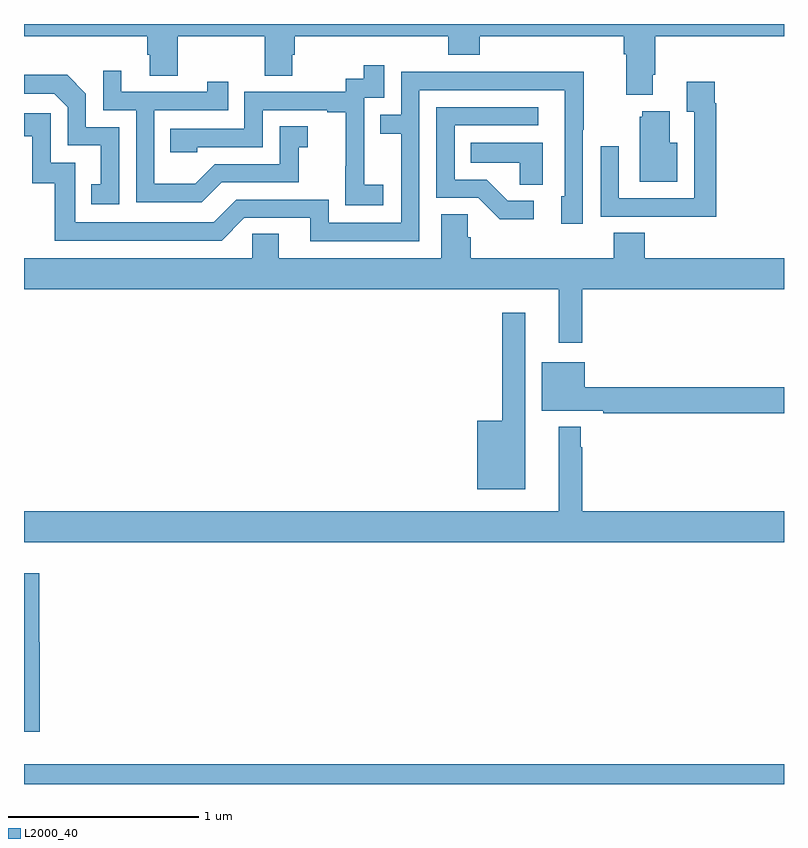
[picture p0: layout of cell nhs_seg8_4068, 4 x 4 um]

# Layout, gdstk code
import gdstk
lib = gdstk.Library(unit=1e-6, precision=1e-09)
def R(c, l, rs):  # rectangles x0, y0, x1, y1
    for r in rs: c.add(gdstk.rectangle(r[:2], r[2:], *l))
def P(c, l, *ps):  # polygons
    for p in ps: c.add(gdstk.Polygon(p, *l))
L2000_40 = (2000, 40)

nhs_seg8_4068 = lib.new_cell('nhs_seg8_4068')
R(nhs_seg8_4068, L2000_40, [(361,1109.9,365,1110.004)])
P(nhs_seg8_4068, L2000_40, [(364.309,1113.634),(364.322,1113.634),(364.322,1113.836),(365,1113.836),(365,1113.9),(361,1113.9),(361,1113.836),(361.649,1113.836),(361.649,1113.738),(361.661,1113.738),(361.661,1113.628),(361.809,1113.628),(361.809,1113.836),(362.266,1113.836),(362.266,1113.628),(362.413,1113.628),(362.413,1113.738),(362.426,1113.738),(362.426,1113.836),(363.233,1113.836),(363.233,1113.737),(363.398,1113.737),(363.398,1113.836),(364.157,1113.836),(364.157,1113.74),(364.169,1113.74),(364.169,1113.527),(364.309,1113.527)],
  [(362.89,1113.055),(362.792,1113.055),(362.792,1113.284),(362.79,1113.284),(362.79,1113.513),(362.895,1113.513),(362.895,1113.682),(362.787,1113.682),(362.787,1113.612),(362.694,1113.612),(362.694,1113.543),(362.16,1113.543),(362.16,1113.348),(361.771,1113.348),(361.771,1113.225),(361.911,1113.225),(361.911,1113.252),(362.256,1113.252),(362.256,1113.447),(362.597,1113.447),(362.597,1113.435),(362.693,1113.435),(362.693,1113.151),(362.692,1113.151),(362.692,1112.945),(362.89,1112.945)],
  [(362.041,1113.066),(362.445,1113.066),(362.445,1113.251),(362.494,1113.251),(362.494,1113.361),(362.346,1113.361),(362.346,1113.162),(362.004,1113.162),(361.9,1113.058),(361.686,1113.058),(361.686,1113.447),(362.075,1113.447),(362.075,1113.595),(361.964,1113.595),(361.964,1113.543),(361.513,1113.543),(361.513,1113.655),(361.416,1113.655),(361.416,1113.447),(361.59,1113.447),(361.59,1112.961),(361.936,1112.961)],
  [(363.081,1113.552),(363.846,1113.552),(363.846,1112.994),(363.827,1112.994),(363.827,1112.85),(363.942,1112.85),(363.942,1113.343),(363.945,1113.343),(363.945,1113.65),(363.481,1113.65),(363.481,1113.648),(362.985,1113.648),(362.985,1113.423),(362.875,1113.423),(362.875,1113.322),(362.985,1113.322),(362.985,1112.853),(362.604,1112.853),(362.604,1112.976),(362.118,1112.976),(361.998,1112.856),(361.269,1112.856),(361.269,1113.171),(361.14,1113.171),(361.14,1113.43),(361,1113.43),(361,1113.309),(361.043,1113.309),(361.043,1113.063),(361.161,1113.063),(361.161,1112.76),(362.04,1112.76),(362.16,1112.88),(362.507,1112.88),(362.507,1112.757),(363.081,1112.757)],
  [(361.5,1113.357),(361.326,1113.357),(361.326,1113.534),(361.228,1113.632),(361,1113.632),(361,1113.534),(361.158,1113.534),(361.23,1113.462),(361.23,1113.261),(361.403,1113.261),(361.403,1113.057),(361.354,1113.057),(361.354,1112.952),(361.5,1112.952)],
  [(364.643,1113.482),(364.636,1113.482),(364.636,1113.595),(364.487,1113.595),(364.487,1113.439),(364.527,1113.439),(364.527,1112.982),(364.131,1112.982),(364.131,1113.256),(364.035,1113.256),(364.035,1112.886),(364.351,1112.886),(364.351,1112.885),(364.643,1112.885)],
  [(363.682,1112.97),(363.547,1112.97),(363.436,1113.081),(363.267,1113.081),(363.267,1113.366),(363.706,1113.366),(363.706,1113.462),(363.171,1113.462),(363.171,1112.985),(363.39,1112.985),(363.503,1112.873),(363.682,1112.873)],
  [(364.438,1113.274),(364.399,1113.274),(364.399,1113.442),(364.253,1113.442),(364.253,1113.411),(364.241,1113.411),(364.241,1113.071),(364.438,1113.071)],
  [(363.73,1113.274),(363.352,1113.274),(363.352,1113.17),(363.609,1113.17),(363.609,1113.055),(363.73,1113.055)],
  [(363.937,1112.504),(365,1112.504),(365,1112.668),(364.268,1112.668),(364.268,1112.801),(364.103,1112.801),(364.103,1112.668),(363.35,1112.668),(363.35,1112.777),(363.336,1112.777),(363.336,1112.9),(363.197,1112.9),(363.197,1112.668),(362.341,1112.668),(362.341,1112.795),(362.202,1112.795),(362.202,1112.668),(361,1112.668),(361,1112.504),(363.815,1112.504),(363.815,1112.223),(363.937,1112.223)],
  [(363.637,1112.38),(363.516,1112.38),(363.516,1111.813),(363.386,1111.813),(363.386,1111.451),(363.637,1111.451)],
  [(365,1111.988),(363.952,1111.988),(363.952,1112.119),(363.725,1112.119),(363.725,1111.865),(364.048,1111.865),(364.048,1111.852),(365,1111.852)],
  [(365,1111.336),(363.937,1111.336),(363.937,1111.673),(363.93,1111.673),(363.93,1111.78),(363.815,1111.78),(363.815,1111.336),(361,1111.336),(361,1111.172),(365,1111.172)],
  [(361.084,1110.645),(361.079,1110.645),(361.079,1111.009),(361,1111.009),(361,1110.174),(361.084,1110.174)])

lib.write_gds('nhs_seg8_4068.gds')
